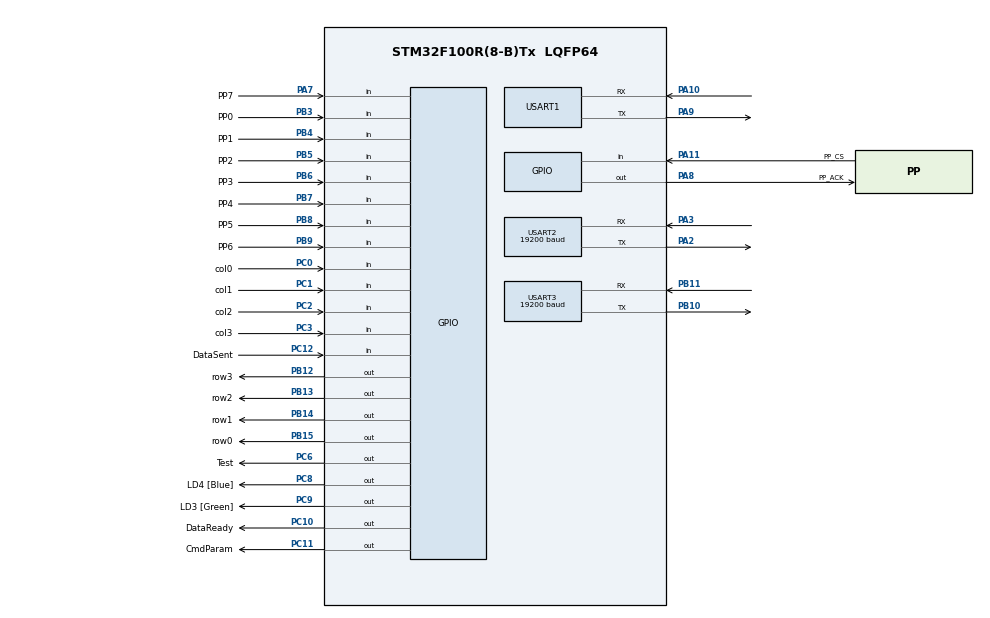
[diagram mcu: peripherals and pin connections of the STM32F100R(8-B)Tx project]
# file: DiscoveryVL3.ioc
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FREERTOS.HEAP_NUMBER=3
FREERTOS.Queues01=keypressed,16,uint16_t,0,Dynamic,NULL,NULL;Send7200,16,uint16_t,0,Dynamic,NULL,NULL;SendAVR,16,uint16_t,0,Dynamic,NULL,NULL;SendFPGA,16,uint16_t,0,Dynamic,NULL,NULL
FREERTOS.Tasks01=defaultTask,0,128,StartDefaultTask,Default,NULL,Dynamic,NULL,NULL;myTask04,-3,128,StartAVRTask,Default,NULL,Dynamic,NULL,NULL;myTask05,-3,128,StartTask7200,Default,NULL,Dynamic,NULL,NULL;myTask06,-3,128,StartRecv7200,Default,NULL,Dynamic,NULL,NULL;myTask08,-3,128,StartSendFPGA,Default,NULL,Dynamic,NULL,NULL;myTask09,-3,128,StartRecvFPGA,Default,NULL,Dynamic,NULL,NULL;myTask10,-3,128,StartKeyStateTask,Default,NULL,Dynamic,NULL,NULL
FREERTOS.Timers01=myTimer01,Callback01,osTimerPeriodic,Default,NULL,Dynamic,NULL
FREERTOS.configTOTAL_HEAP_SIZE=8000
FREERTOS.configUSE_TIMERS=1
Mcu.Family=STM32F1
Mcu.Name=STM32F100R(8-B)Tx
Mcu.Package=LQFP64
NVIC.PriorityGroup=NVIC_PRIORITYGROUP_4
NVIC.TIM1_UP_TIM16_IRQn=true\:0\:0\:false\:false\:true\:false\:false
NVIC.TimeBase=TIM1_UP_TIM16_IRQn
NVIC.TimeBaseIP=TIM1
NVIC.USART1_IRQn=true\:5\:0\:false\:false\:true\:true\:true
PA0-WKUP.Mode=SYS_WakeUp0
PA0-WKUP.Signal=SYS_WKUP
PA10.Mode=Asynchronous
PA10.Signal=USART1_RX
PA11.GPIO_Label=PP_CS
PA11.GPIO_PuPd=GPIO_PULLUP
PA11.Signal=GPIO_Input
PA13.GPIO_Label=TMS_SWDIO
PA13.Mode=Serial_Wire
PA13.Signal=SYS_JTMS-SWDIO
PA14.GPIO_Label=TCK_SWCLK
PA14.Mode=Serial_Wire
PA14.Signal=SYS_JTCK-SWCLK
PA2.Mode=Asynchronous
PA2.Signal=USART2_TX
PA3.Mode=Asynchronous
PA3.Signal=USART2_RX
PA7.GPIO_Label=PP7
PA7.GPIO_PuPd=GPIO_PULLUP
PA7.Signal=GPIO_Input
PA8.GPIO_Label=PP_ACK
PA8.GPIO_PuPd=GPIO_PULLUP
PA8.Signal=GPIO_Output
PA9.Mode=Asynchronous
PA9.Signal=USART1_TX
PB10.Mode=Asynchronous
PB10.Signal=USART3_TX
PB11.Mode=Asynchronous
PB11.Signal=USART3_RX
PB12.GPIO_Label=row3
PB12.GPIO_PuPd=GPIO_PULLUP
PB12.Signal=GPIO_Output
PB13.GPIO_Label=row2
PB13.GPIO_PuPd=GPIO_PULLUP
PB13.Signal=GPIO_Output
PB14.GPIO_Label=row1
PB14.GPIO_PuPd=GPIO_PULLUP
PB14.Signal=GPIO_Output
PB15.GPIO_Label=row0
PB15.GPIO_PuPd=GPIO_PULLUP
PB15.Signal=GPIO_Output
PB3.GPIO_Label=PP0
PB3.GPIO_PuPd=GPIO_PULLUP
PB3.Signal=GPIO_Input
PB4.GPIO_Label=PP1
PB4.GPIO_PuPd=GPIO_PULLUP
PB4.Signal=GPIO_Input
PB5.GPIO_Label=PP2
PB5.GPIO_PuPd=GPIO_PULLUP
PB5.Signal=GPIO_Input
PB6.GPIO_Label=PP3
PB6.GPIO_PuPd=GPIO_PULLUP
PB6.Signal=GPIO_Input
PB7.GPIO_Label=PP4
PB7.GPIO_PuPd=GPIO_PULLUP
PB7.Signal=GPIO_Input
PB8.GPIO_Label=PP5
PB8.GPIO_PuPd=GPIO_PULLUP
PB8.Signal=GPIO_Input
PB9.GPIO_Label=PP6
PB9.GPIO_PuPd=GPIO_PULLUP
PB9.Signal=GPIO_Input
PC0.GPIO_Label=col0
PC0.GPIO_PuPd=GPIO_PULLUP
PC0.Signal=GPIO_Input
PC1.GPIO_Label=col1
PC1.GPIO_PuPd=GPIO_PULLUP
PC1.Signal=GPIO_Input
PC10.GPIO_Label=DataReady
PC10.GPIO_PuPd=GPIO_PULLUP
PC10.Signal=GPIO_Output
PC11.GPIO_Label=CmdParam
PC11.GPIO_PuPd=GPIO_PULLUP
PC11.Signal=GPIO_Output
PC12.GPIO_Label=DataSent
PC12.GPIO_PuPd=GPIO_PULLUP
PC12.Signal=GPIO_Input
PC14-OSC32_IN.Mode=LSE-External-Oscillator
PC14-OSC32_IN.Signal=RCC_OSC32_IN
PC15-OSC32_OUT.Mode=LSE-External-Oscillator
PC15-OSC32_OUT.Signal=RCC_OSC32_OUT
PC2.GPIO_Label=col2
PC2.GPIO_PuPd=GPIO_PULLUP
PC2.Signal=GPIO_Input
PC3.GPIO_Label=col3
PC3.GPIO_PuPd=GPIO_PULLUP
PC3.Signal=GPIO_Input
PC6.GPIO_Label=Test
PC6.GPIO_PuPd=GPIO_PULLUP
PC6.Signal=GPIO_Output
PC8.GPIO_Label=LD4 [Blue]
PC8.Signal=GPIO_Output
PC9.GPIO_Label=LD3 [Green]
PC9.Signal=GPIO_Output
PD0-OSC_IN.Mode=HSE-External-Oscillator
PD0-OSC_IN.Signal=RCC_OSC_IN
PD1-OSC_OUT.Mode=HSE-External-Oscillator
PD1-OSC_OUT.Signal=RCC_OSC_OUT
ProjectManager.HeapSize=0x200
ProjectManager.StackSize=0x400
ProjectManager.TargetToolchain=TrueSTUDIO
RCC.APB1Freq_Value=8000000
RCC.APB2Freq_Value=8000000
USART1.VirtualMode=VM_ASYNC
USART2.BaudRate=19200
USART2.VirtualMode=VM_ASYNC
USART3.BaudRate=19200
USART3.VirtualMode=VM_ASYNC
VP_FREERTOS_VS_ENABLE.Mode=Enabled
VP_SYS_VS_tim1.Mode=TIM1
board=STM32VLDISCOVERY

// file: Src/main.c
/* USER CODE BEGIN Header */
/**
  ******************************************************************************
  * @file           : main.c
  * @brief          : Main program body
  ******************************************************************************
  * This notice applies to any and all portions of this file
  * that are not between comment pairs USER CODE BEGIN and
  * USER CODE END. Other portions of this file, whether
  * inserted by the user or by software development tools
  * are owned by their respective copyright owners.
  *
  * Copyright (c) 2019 STMicroelectronics International N.V.
  * All rights reserved.
  *
  * Redistribution and use in source and binary forms, with or without
  * modification, are permitted, provided that the following conditions are met:
  *
  * 1. Redistribution of source code must retain the above copyright notice,
  *    this list of conditions and the following disclaimer.
  * 2. Redistributions in binary form must reproduce the above copyright notice,
  *    this list of conditions and the following disclaimer in the documentation
  *    and/or other materials provided with the distribution.
  * 3. Neither the name of STMicroelectronics nor the names of other
  *    contributors to this software may be used to endorse or promote products
  *    derived from this software without specific written permission.
  * 4. This software, including modifications and/or derivative works of this
  *    software, must execute solely and exclusively on microcontroller or
  *    microprocessor devices manufactured by or for STMicroelectronics.
  * 5. Redistribution and use of this software other than as permitted under
  *    this license is void and will automatically terminate your rights under
  *    this license.
  *
  * THIS SOFTWARE IS PROVIDED BY STMICROELECTRONICS AND CONTRIBUTORS "AS IS"
  * AND ANY EXPRESS, IMPLIED OR STATUTORY WARRANTIES, INCLUDING, BUT NOT
  * LIMITED TO, THE IMPLIED WARRANTIES OF MERCHANTABILITY, FITNESS FOR A
  * PARTICULAR PURPOSE AND NON-INFRINGEMENT OF THIRD PARTY INTELLECTUAL PROPERTY
  * RIGHTS ARE DISCLAIMED TO THE FULLEST EXTENT PERMITTED BY LAW. IN NO EVENT
  * SHALL STMICROELECTRONICS OR CONTRIBUTORS BE LIABLE FOR ANY DIRECT, INDIRECT,
  * INCIDENTAL, SPECIAL, EXEMPLARY, OR CONSEQUENTIAL DAMAGES (INCLUDING, BUT NOT
  * LIMITED TO, PROCUREMENT OF SUBSTITUTE GOODS OR SERVICES; LOSS OF USE, DATA,
  * OR PROFITS; OR BUSINESS INTERRUPTION) HOWEVER CAUSED AND ON ANY THEORY OF
  * LIABILITY, WHETHER IN CONTRACT, STRICT LIABILITY, OR TORT (INCLUDING
  * NEGLIGENCE OR OTHERWISE) ARISING IN ANY WAY OUT OF THE USE OF THIS SOFTWARE,
  * EVEN IF ADVISED OF THE POSSIBILITY OF SUCH DAMAGE.
  *
  ******************************************************************************
  */
/* USER CODE END Header */

#include "main.h"
#include "cmsis_os.h"
#include "usart.h"
#include "gpio.h"

void SystemClock_Config(void);
void MX_FREERTOS_Init(void);

int main(void)
{

  /* MCU Configuration--------------------------------------------------------*/

  /* Reset of all peripherals, Initializes the Flash interface and the Systick. */
  HAL_Init();

  /* Configure the system clock */
  SystemClock_Config();

  /* Initialize all configured peripherals */
  MX_GPIO_Init();
  MX_USART1_UART_Init();
  MX_USART2_UART_Init();
  MX_USART3_UART_Init();

  /* Call init function for freertos objects (in freertos.c) */
  MX_FREERTOS_Init();

  /* Start scheduler */
  osKernelStart();

  /* We should never get here as control is now taken by the scheduler */

  /* Infinite loop */
  while (1)
  {

  }
}

void SystemClock_Config(void)
{
  RCC_OscInitTypeDef RCC_OscInitStruct = {0};
  RCC_ClkInitTypeDef RCC_ClkInitStruct = {0};

  /**Initializes the CPU, AHB and APB busses clocks
  */
  RCC_OscInitStruct.OscillatorType = RCC_OSCILLATORTYPE_HSI;
  RCC_OscInitStruct.HSIState = RCC_HSI_ON;
  RCC_OscInitStruct.HSICalibrationValue = RCC_HSICALIBRATION_DEFAULT;
  RCC_OscInitStruct.PLL.PLLState = RCC_PLL_NONE;
  if (HAL_RCC_OscConfig(&RCC_OscInitStruct) != HAL_OK)
  {
    Error_Handler();
  }
  /**Initializes the CPU, AHB and APB busses clocks
  */
  RCC_ClkInitStruct.ClockType = RCC_CLOCKTYPE_HCLK|RCC_CLOCKTYPE_SYSCLK
                              |RCC_CLOCKTYPE_PCLK1|RCC_CLOCKTYPE_PCLK2;
  RCC_ClkInitStruct.SYSCLKSource = RCC_SYSCLKSOURCE_HSI;
  RCC_ClkInitStruct.AHBCLKDivider = RCC_SYSCLK_DIV1;
  RCC_ClkInitStruct.APB1CLKDivider = RCC_HCLK_DIV1;
  RCC_ClkInitStruct.APB2CLKDivider = RCC_HCLK_DIV1;

  if (HAL_RCC_ClockConfig(&RCC_ClkInitStruct, FLASH_LATENCY_0) != HAL_OK)
  {
    Error_Handler();
  }
}

void HAL_TIM_PeriodElapsedCallback(TIM_HandleTypeDef *htim)
{
  if (htim->Instance == TIM1) {
    HAL_IncTick();
  }
}

void Error_Handler(void)
{
}

/************************ (C) COPYRIGHT STMicroelectronics *****END OF FILE****/

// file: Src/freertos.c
/* USER CODE BEGIN Header */
/**
  ******************************************************************************
  * File Name          : freertos.c
  * Description        : Code for freertos applications
  ******************************************************************************
  * This notice applies to any and all portions of this file
  * that are not between comment pairs USER CODE BEGIN and
  * USER CODE END. Other portions of this file, whether
  * inserted by the user or by software development tools
  * are owned by their respective copyright owners.
  *
  * Copyright (c) 2019 STMicroelectronics International N.V.
  * All rights reserved.
  *
  * Redistribution and use in source and binary forms, with or without
  * modification, are permitted, provided that the following conditions are met:
  *
  * 1. Redistribution of source code must retain the above copyright notice,
  *    this list of conditions and the following disclaimer.
  * 2. Redistributions in binary form must reproduce the above copyright notice,
  *    this list of conditions and the following disclaimer in the documentation
  *    and/or other materials provided with the distribution.
  * 3. Neither the name of STMicroelectronics nor the names of other
  *    contributors to this software may be used to endorse or promote products
  *    derived from this software without specific written permission.
  * 4. This software, including modifications and/or derivative works of this
  *    software, must execute solely and exclusively on microcontroller or
  *    microprocessor devices manufactured by or for STMicroelectronics.
  * 5. Redistribution and use of this software other than as permitted under
  *    this license is void and will automatically terminate your rights under
  *    this license.
  *
  * THIS SOFTWARE IS PROVIDED BY STMICROELECTRONICS AND CONTRIBUTORS "AS IS"
  * AND ANY EXPRESS, IMPLIED OR STATUTORY WARRANTIES, INCLUDING, BUT NOT
  * LIMITED TO, THE IMPLIED WARRANTIES OF MERCHANTABILITY, FITNESS FOR A
  * PARTICULAR PURPOSE AND NON-INFRINGEMENT OF THIRD PARTY INTELLECTUAL PROPERTY
  * RIGHTS ARE DISCLAIMED TO THE FULLEST EXTENT PERMITTED BY LAW. IN NO EVENT
  * SHALL STMICROELECTRONICS OR CONTRIBUTORS BE LIABLE FOR ANY DIRECT, INDIRECT,
  * INCIDENTAL, SPECIAL, EXEMPLARY, OR CONSEQUENTIAL DAMAGES (INCLUDING, BUT NOT
  * LIMITED TO, PROCUREMENT OF SUBSTITUTE GOODS OR SERVICES; LOSS OF USE, DATA,
  * OR PROFITS; OR BUSINESS INTERRUPTION) HOWEVER CAUSED AND ON ANY THEORY OF
  * LIABILITY, WHETHER IN CONTRACT, STRICT LIABILITY, OR TORT (INCLUDING
  * NEGLIGENCE OR OTHERWISE) ARISING IN ANY WAY OUT OF THE USE OF THIS SOFTWARE,
  * EVEN IF ADVISED OF THE POSSIBILITY OF SUCH DAMAGE.
  *
  ******************************************************************************
  */
/* USER CODE END Header */
#if 1
#include "FreeRTOS.h"
#include "task.h"
#include "main.h"
#include "cmsis_os.h"

/* USER CODE BEGIN Includes */
#include "dwt_stm32_delay.h"
#include "../mytypes.h"
#include "ds1620.h"
#include "freertos_defs.h"
#include "usart.h"
#include "screen.h"
#include "string.h"
#include "gpio.h"

/* USER CODE END Includes */

/* USER CODE BEGIN PTD */
#define SEND_FPGA_DELAY() vTaskDelay(20)

typedef enum
{
	STATE_WAIT_FOR_PRESS = 1,
	STATE_WAIT_FOR_RELEASE
} ISRSTATE;

static ISRSTATE e_isrState;

const uint8_t au8_keyTable[NUM_ROWS][NUM_COLS] =
{
/*
	{KP_1, KP_2, KP_3, KP_A },
	{KP_4, KP_5, KP_6, KP_B },
	{KP_7, KP_8, KP_9, KP_C },
	{KP_AST, KP_0, KP_POUND, KP_D}
*/
	{KP_AST, KP_0, KP_POUND, KP_D},
	{KP_7, KP_8, KP_9, KP_C },
	{KP_4, KP_5, KP_6, KP_B },
	{KP_1, KP_2, KP_3, KP_A }
};

FORMAT_STR rtlabel_str[NUM_RT_LABELS];
FORMAT_STR status_label_str[NUM_STATUS_LABELS];
uint64_t pack64(UCHAR *buff);
uint32_t pack32(UCHAR *buff);

/* USER CODE END PTD */

/* USER CODE BEGIN PD */
uint64_t pack64(UCHAR *buff);
uint32_t pack32(UCHAR *buff);

/* USER CODE END PD */

/* USER CODE BEGIN Variables */
static UCHAR buff[SERIAL_BUFF_SIZE+1];
static int menu_ptr;
static int lights_on;
static int brights_on;
static int blower_on;
static int fan_on;
static int engine_on;
static int running_lights_on;
static int wipers_on;
static int system_up;
static int run_time;

static KEY_MODE key_mode;
//static int key_enter_time;
static char password[PASSWORD_SIZE];
static char correct_password[PASSWORD_SIZE];
static UCHAR password_valid;
static int password_ptr;
static int password_retries;
static int dim_screen;
static int silent_key;
static char num_entry_num[SIZE_NUM];
//static int task7on;

static void clr_scr(void)
{
	UCHAR key[2];
	key[0] = LCD_CLRSCR;
	key[1] = 0xFE;
	HAL_UART_Transmit(&huart2, key, 2, 100);
}

static void goto_scr(UCHAR row, UCHAR col)
{
	UCHAR key[4];
	key[0] = GOTO_CMD;
	key[1] = row;
	key[2] = col;
	key[3] = 0xFE;
	HAL_UART_Transmit(&huart2, key, 4, 100);
}

static void setOneRowLow(uint8_t u8_x)
{
	switch (u8_x)
	{
		case 0:

			HAL_GPIO_WritePin(GPIOB, row0, GPIO_PIN_SET);
			HAL_GPIO_WritePin(GPIOB, row1, GPIO_PIN_SET);
			HAL_GPIO_WritePin(GPIOB, row2, GPIO_PIN_SET);
			HAL_GPIO_WritePin(GPIOB, row3, GPIO_PIN_RESET);
			break;
		case 1:
			HAL_GPIO_WritePin(GPIOB, row0, GPIO_PIN_SET);
			HAL_GPIO_WritePin(GPIOB, row1, GPIO_PIN_SET);
			HAL_GPIO_WritePin(GPIOB, row2, GPIO_PIN_RESET);
			HAL_GPIO_WritePin(GPIOB, row3, GPIO_PIN_SET);
			break;
		case 2:
			HAL_GPIO_WritePin(GPIOB, row0, GPIO_PIN_SET);
			HAL_GPIO_WritePin(GPIOB, row1, GPIO_PIN_RESET);
			HAL_GPIO_WritePin(GPIOB, row2, GPIO_PIN_SET);
			HAL_GPIO_WritePin(GPIOB, row3, GPIO_PIN_SET);
			break;
		case 3:
			HAL_GPIO_WritePin(GPIOB, row0, GPIO_PIN_RESET);
			HAL_GPIO_WritePin(GPIOB, row1, GPIO_PIN_SET);
			HAL_GPIO_WritePin(GPIOB, row2, GPIO_PIN_SET);
			HAL_GPIO_WritePin(GPIOB, row3, GPIO_PIN_SET);
			break;
		default:
			HAL_GPIO_WritePin(GPIOB, row0, GPIO_PIN_SET);
			HAL_GPIO_WritePin(GPIOB, row1, GPIO_PIN_SET);
			HAL_GPIO_WritePin(GPIOB, row2, GPIO_PIN_SET);
			HAL_GPIO_WritePin(GPIOB, row3, GPIO_PIN_SET);
			break;
	}
}

static void drive_row_high(void)
{
	HAL_GPIO_WritePin(GPIOB, row0, GPIO_PIN_SET);
	HAL_GPIO_WritePin(GPIOB, row1, GPIO_PIN_SET);
	HAL_GPIO_WritePin(GPIOB, row2, GPIO_PIN_SET);
	HAL_GPIO_WritePin(GPIOB, row3, GPIO_PIN_SET);
}

/*
int key_is_pressed(void)
{
	GPIO_PinState state0, state1, state2, state3;

	state0 = HAL_GPIO_ReadPin(GPIOC,col0);
	state1 = HAL_GPIO_ReadPin(GPIOC,col1);
	state2 = HAL_GPIO_ReadPin(GPIOC,col2);
	state3 = HAL_GPIO_ReadPin(GPIOC,col3);
	if (state0 == GPIO_PIN_RESET || state1 == GPIO_PIN_RESET ||
					state2 == GPIO_PIN_RESET || state3 == GPIO_PIN_RESET)
		return 1;

	return 0;
}
*/

int key_is_released(void)
{
	GPIO_PinState state0, state1, state2, state3;

	state0 = HAL_GPIO_ReadPin(GPIOC,col0);
	state1 = HAL_GPIO_ReadPin(GPIOC,col1);
	state2 = HAL_GPIO_ReadPin(GPIOC,col2);
	state3 = HAL_GPIO_ReadPin(GPIOC,col3);
	if (state0 == GPIO_PIN_SET && state1 == GPIO_PIN_SET &&
					state2 == GPIO_PIN_SET && state3 == GPIO_PIN_SET)
		return 1;

	return 0;
}

UCHAR do_keyscan(void)
{
	uint8_t u8_row;
	UCHAR key_pressed;
	GPIO_PinState state;

	key_pressed = 0;
//	drive_row_high();

	for (u8_row = 0; u8_row < NUM_ROWS; u8_row++)
	{
		setOneRowLow(u8_row);
//			vTaskDelay(1);
		state = HAL_GPIO_ReadPin(GPIOC,col0);
		if(state == GPIO_PIN_RESET)
		{
			key_pressed = (au8_keyTable[u8_row][0]);
			return key_pressed;
		}
		state = HAL_GPIO_ReadPin(GPIOC,col1);
		if(state == GPIO_PIN_RESET)
		{
			key_pressed = (au8_keyTable[u8_row][1]);
			return key_pressed;
		}
		state = HAL_GPIO_ReadPin(GPIOC,col2);
		if(state == GPIO_PIN_RESET)
		{
			key_pressed = (au8_keyTable[u8_row][2]);
			return key_pressed;
		}
		state = HAL_GPIO_ReadPin(GPIOC,col3);
		if(state == GPIO_PIN_RESET)
		{
			key_pressed = (au8_keyTable[u8_row][3]);
			return key_pressed;
		}
	}
	return 0;
}

/* USER CODE END Variables */
osThreadId defaultTaskHandle;
osThreadId myTask04Handle;
osThreadId myTask05Handle;
osThreadId myTask06Handle;
osThreadId myTask08Handle;
osThreadId myTask09Handle;
osThreadId myTask10Handle;
osMessageQId keypressedHandle;
osMessageQId Send7200Handle;
osMessageQId SendAVRHandle;
osMessageQId SendFPGAHandle;
osTimerId myTimer01Handle;

void StartDefaultTask(void const * argument);
void StartAVRTask(void const * argument);
void StartTask7200(void const * argument);
void StartRecv7200(void const * argument);
void StartSendFPGA(void const * argument);
void StartRecvFPGA(void const * argument);
void StartKeyStateTask(void const * argument);
void Callback01(void const * argument);
#endif
void MX_FREERTOS_Init(void); /* (MISRA C 2004 rule 8.1) */

void MX_FREERTOS_Init(void)
{

  /* Create the timer(s) */
  /* definition and creation of myTimer01 */
  osTimerDef(myTimer01, Callback01);
  myTimer01Handle = osTimerCreate(osTimer(myTimer01), osTimerPeriodic, NULL);

  /* Create the thread(s) */
  /* definition and creation of defaultTask */
  osThreadDef(defaultTask, StartDefaultTask, osPriorityNormal, 0, 128);
  defaultTaskHandle = osThreadCreate(osThread(defaultTask), NULL);
#if 0
  /* definition and creation of myTask04 */
  osThreadDef(myTask04, StartAVRTask, osPriorityIdle, 0, 128);
  myTask04Handle = osThreadCreate(osThread(myTask04), NULL);

  /* definition and creation of myTask05 */
  osThreadDef(myTask05, StartTask7200, osPriorityIdle, 0, 128);
  myTask05Handle = osThreadCreate(osThread(myTask05), NULL);

  /* definition and creation of myTask06 */
  osThreadDef(myTask06, StartRecv7200, osPriorityIdle, 0, 128);
  myTask06Handle = osThreadCreate(osThread(myTask06), NULL);

  /* definition and creation of myTask08 */
  osThreadDef(myTask08, StartSendFPGA, osPriorityIdle, 0, 128);
  myTask08Handle = osThreadCreate(osThread(myTask08), NULL);

  /* definition and creation of myTask09 */
  osThreadDef(myTask09, StartRecvFPGA, osPriorityIdle, 0, 128);
  myTask09Handle = osThreadCreate(osThread(myTask09), NULL);

  /* definition and creation of myTask10 */
  osThreadDef(myTask10, StartKeyStateTask, osPriorityIdle, 0, 128);
  myTask10Handle = osThreadCreate(osThread(myTask10), NULL);
#endif

  /* Create the queue(s) */
  /* definition and creation of keypressed */
  osMessageQDef(keypressed, 16, uint16_t);
  keypressedHandle = osMessageCreate(osMessageQ(keypressed), NULL);

  /* definition and creation of Send7200 */
  osMessageQDef(Send7200, 16, uint16_t);
  Send7200Handle = osMessageCreate(osMessageQ(Send7200), NULL);

  /* definition and creation of SendAVR */
  osMessageQDef(SendAVR, 16, uint16_t);
  SendAVRHandle = osMessageCreate(osMessageQ(SendAVR), NULL);

  /* definition and creation of SendFPGA */
  osMessageQDef(SendFPGA, 16, uint16_t);
  SendFPGAHandle = osMessageCreate(osMessageQ(SendFPGA), NULL);

}

void StartDefaultTask(void const * argument)
{

  /* USER CODE BEGIN StartDefaultTask */
  	int i;
	uint64_t avr_buffer[5];
	UCHAR ucbuff[8];
	UCHAR key;
	UCHAR cmd;
	uint16_t recval;

	lights_on = 0;
	brights_on = 0;
	fan_on = 0;
	blower_on = 0;
	engine_on = 0;
	wipers_on = 0;
  	menu_ptr = 0;
    password_valid = 0;
    password_ptr = 0;
	password_retries = 0;
	dim_screen = 0;
	silent_key = 0;
	system_up = 1;
	run_time = 0;
//	key_mode = PASSWORD;
	key_mode = NORMAL;
	DWT_Delay_Init();
	init_DS1620();
//	set_output();		// set the DS1620 lines to outputs (for testing)

	memset(correct_password,0,sizeof(correct_password));
	strcpy(correct_password,"2354795\0");
	memset(password,0,PASSWORD_SIZE);
	osTimerStart(myTimer01Handle,10000);

	for(;;)
	{
		vTaskDelay(1000);
	}

	menu_ptr = 0;
/*
  	for(i = 0;i < 20;i++)
	{
  		if(menu_ptr == 0)
		{
			HAL_GPIO_WritePin(LD3_GPIO_Port, LD3_Pin, GPIO_PIN_RESET);
			HAL_GPIO_WritePin(LD4_GPIO_Port, LD4_Pin, GPIO_PIN_SET);
			vTaskDelay(50);
			menu_ptr = 1;
		}else
		{
			HAL_GPIO_WritePin(LD4_GPIO_Port, LD4_Pin, GPIO_PIN_RESET);
			HAL_GPIO_WritePin(LD3_GPIO_Port, LD3_Pin, GPIO_PIN_SET);
			vTaskDelay(50);
			menu_ptr = 0;
		}
	}
*/
	HAL_GPIO_WritePin(LD3_GPIO_Port, LD3_Pin, GPIO_PIN_RESET);
	HAL_GPIO_WritePin(LD3_GPIO_Port, LD4_Pin, GPIO_PIN_RESET);

	vTaskDelay(2000);

	clr_scr();
	vTaskDelay(1000);

	init_rtlabels();
//	display_rtlabels();

	vTaskDelay(10);

	ucbuff[0] = DISPLAY_RTLABELS;
	ucbuff[1] = START_RT_VALUE_ROW;
	ucbuff[2] = START_RT_VALUE_COL;
	ucbuff[3] = ENDING_RT_VALUE_ROW;
	ucbuff[4] = RT_VALUE_COL_WIDTH;
	ucbuff[5] = NUM_RT_LABELS;

	avr_buffer[0] = pack64(ucbuff);
//	xQueueSend(SendAVRHandle,avr_buffer,0);

	HAL_GPIO_WritePin(LD3_GPIO_Port, LD3_Pin, GPIO_PIN_RESET);
	HAL_GPIO_WritePin(LD3_GPIO_Port, LD4_Pin, GPIO_PIN_RESET);
  /* Infinite loop */

  for(;;)
  {
		xQueueReceive(keypressedHandle, &recval, portMAX_DELAY);
		key = (UCHAR)recval;
		cmd = 0;

		switch(key)
		{
			case KP_1:
				cmd = START_SEQ;
				if(engine_on == 0)
				{
					ucbuff[0] = cmd;
					buff[0] = pack64(ucbuff);
					xQueueSend(Send7200Handle, buff, 0);
					engine_on = 1;
				}
			break;
			case KP_2:
				cmd = SHUTDOWN;
				ucbuff[0] = cmd;
				buff[0] = pack64(ucbuff);
				xQueueSend(Send7200Handle, buff, 0);
				cmd = OFF_FAN;
				ucbuff[0] = cmd;
				buff[0] = pack64(ucbuff);
				xQueueSend(Send7200Handle, buff, 0);
				engine_on = 0;
				fan_on = 0;

			break;
			case KP_3:
				if(lights_on == 1)
				{
					if(brights_on == 0)
					{
						cmd = ON_BRIGHTS;
						ucbuff[0] = cmd;
						buff[0] = pack64(ucbuff);
						xQueueSend(Send7200Handle, buff, 0);
						brights_on = 1;
					}
					else
					{
						cmd = OFF_BRIGHTS;
						ucbuff[0] = cmd;
						buff[0] = pack64(ucbuff);
						xQueueSend(Send7200Handle, buff, 0);
						brights_on = 0;
					}
				}
			break;
			case KP_4:
				if(fan_on == 0)
				{
					cmd = ON_FAN;
					ucbuff[0] = cmd;
					buff[0] = pack64(ucbuff);
					xQueueSend(Send7200Handle, buff, 0);
					fan_on = 1;
				}
				else
				{
					cmd = OFF_FAN;
					ucbuff[0] = cmd;
					buff[0] = pack64(ucbuff);
					xQueueSend(Send7200Handle, buff, 0);
					fan_on = 0;
				}
			break;
			case KP_5:
				switch(blower_on)
				{
					case 0:
						cmd = BLOWER1;
						ucbuff[0] = cmd;
						buff[0] = pack64(ucbuff);
						xQueueSend(Send7200Handle, buff, 0);
						blower_on = 1;
						break;
					case 1:
						cmd = BLOWER2;
						ucbuff[0] = cmd;
						buff[0] = pack64(ucbuff);
						xQueueSend(Send7200Handle, buff, 0);
						blower_on = 2;
						break;
					case 2:
						cmd = BLOWER3;
						ucbuff[0] = cmd;
						buff[0] = pack64(ucbuff);
						xQueueSend(Send7200Handle, buff, 0);
						blower_on = 3;
						break;
					case 3:
						cmd = BLOWER_OFF;
						ucbuff[0] = cmd;
						buff[0] = pack64(ucbuff);
						xQueueSend(Send7200Handle, buff, 0);
						blower_on = 0;
						break;
					default:
						blower_on = 0;
						break;
				}
			break;
			case KP_6:
				if(running_lights_on == 0)
				{
					running_lights_on = 1;
					cmd = ON_RUNNING_LIGHTS;
					ucbuff[0] = cmd;
					buff[0] = pack64(ucbuff);
					xQueueSend(Send7200Handle, buff, 0);
				}else
				{
					running_lights_on = 0;
					cmd = OFF_RUNNING_LIGHTS;
					ucbuff[0] = cmd;
					buff[0] = pack64(ucbuff);
					xQueueSend(Send7200Handle, buff, 0);
				}
			break;
			case KP_7:
				if(lights_on == 0)
				{
					cmd = ON_LIGHTS;
					ucbuff[0] = cmd;
					buff[0] = pack64(ucbuff);
					xQueueSend(Send7200Handle, buff, 0);
					lights_on = 1;
				}
				else
				{
					cmd = OFF_LIGHTS;
					lights_on = 0;
					ucbuff[0] = cmd;
					buff[0] = pack64(ucbuff);
					xQueueSend(Send7200Handle, buff, 0);

					if(brights_on == 1)
					{
						cmd = OFF_BRIGHTS;
						ucbuff[0] = cmd;
						buff[0] = pack64(ucbuff);
						xQueueSend(Send7200Handle, buff, 0);
						brights_on = 0;
					}
				}
			break;
			case KP_8:
				switch (wipers_on)
				{
					case 0:
						cmd = WIPER1;
						wipers_on = 1;
						break;
					case 1:
						cmd = WIPER2;
						wipers_on = 2;
						break;
					case 2:
						cmd = WIPER_OFF;
						wipers_on = 0;
						break;
					default:
						wipers_on = 0;
						break;
				}
				ucbuff[0] = cmd;
				buff[0] = pack64(ucbuff);
				xQueueSend(Send7200Handle, buff, 0);
			break;
			case KP_9:
			break;
		}
		vTaskDelay(10);
	}
  /* USER CODE END StartDefaultTask */
}

void StartAVRTask(void const * argument)
{
  /* USER CODE BEGIN StartAVRTask */
	uint64_t avr_buffer[5];
	UCHAR ucbuff[8];
	UCHAR end_byte;
//	uint64_t temp;

  /* Infinite loop */
	for(;;)
	{
		xQueueReceive(SendAVRHandle, avr_buffer, portMAX_DELAY);

		ucbuff[0] = (UCHAR)avr_buffer[0];
		avr_buffer[0] >>= 8;

		ucbuff[1] = (UCHAR)avr_buffer[0];
		avr_buffer[0] >>= 8;

		ucbuff[2] = (UCHAR)avr_buffer[0];
		avr_buffer[0] >>= 8;

		ucbuff[3] = (UCHAR)avr_buffer[0];
		avr_buffer[0] >>= 8;

		ucbuff[4] = (UCHAR)avr_buffer[0];
		avr_buffer[0] >>= 8;

		ucbuff[5] = (UCHAR)avr_buffer[0];
		avr_buffer[0] >>= 8;

		ucbuff[6] = (UCHAR)avr_buffer[0];
		avr_buffer[0] >>= 8;

		ucbuff[7] = (UCHAR)avr_buffer[0];
		avr_buffer[0] >>= 8;

		switch (ucbuff[0])
		{
			case EEPROM_STR:
			case EEPROM_STR2:
			case DISPLAY_TEMP:
			case SEND_INT_RT_VALUES:
			case DISPLAY_ELAPSED_TIME:
			case SET_MODE_CMD:
				HAL_UART_Transmit(&huart2, ucbuff, 5, 100);
				break;
			case CHAR_CMD:
			case SET_NUM_ENTRY_MODE:
			case PASSWORD_MODE:
				HAL_UART_Transmit(&huart2, ucbuff, 2, 100);
				break;
			case GOTO_CMD:
				HAL_UART_Transmit(&huart2, ucbuff, 3, 100);
				break;
			case DISPLAY_RTLABELS:
				HAL_UART_Transmit(&huart2, ucbuff, 6, 100);
				break;
			case SEND_BYTE_HEX_VALUES:
			case SEND_BYTE_RT_VALUES:
				HAL_UART_Transmit(&huart2, ucbuff, 4, 100);
				break;
			case LCD_CLRSCR:
			case DISPLAY_STATUSLABELS:
				HAL_UART_Transmit(&huart2, ucbuff, 1, 100);
				break;
			default:
				break;
		}
		end_byte = 0xFE;
		HAL_UART_Transmit(&huart2, &end_byte, 1, 100);
		end_byte = 0;

		do {
			HAL_UART_Receive(&huart2, &end_byte, 1, portMAX_DELAY);
		} while(end_byte != 0xFD);
	}
  /* USER CODE END StartAVRTask */
}

void StartTask7200(void const * argument)
{
  /* USER CODE BEGIN StartTask7200 */
  	uint64_t avr_buffer[5];
	UCHAR ucbuff[SERIAL_BUFF_SIZE];
	UCHAR marker = 0xFF;

	memset(ucbuff,0,sizeof(ucbuff));

	/* Infinite loop */
	for(;;)
	{
		xQueueReceive(Send7200Handle, avr_buffer, portMAX_DELAY);
/*
		if(menu_ptr == 0)
		{
			HAL_GPIO_WritePin(LD3_GPIO_Port, LD3_Pin, GPIO_PIN_RESET);
			HAL_GPIO_WritePin(LD4_GPIO_Port, LD4_Pin, GPIO_PIN_SET);
			menu_ptr = 1;
		}else
		{
			HAL_GPIO_WritePin(LD4_GPIO_Port, LD4_Pin, GPIO_PIN_RESET);
			HAL_GPIO_WritePin(LD3_GPIO_Port, LD3_Pin, GPIO_PIN_SET);
			menu_ptr = 0;
		}
*/
		ucbuff[0] = (UCHAR)avr_buffer[0];
		avr_buffer[0] >>= 8;

		ucbuff[1] = (UCHAR)avr_buffer[0];
		avr_buffer[0] >>= 8;

		ucbuff[2] = (UCHAR)avr_buffer[0];
		avr_buffer[0] >>= 8;

		ucbuff[3] = (UCHAR)avr_buffer[0];
		avr_buffer[0] >>= 8;

		ucbuff[4] = (UCHAR)avr_buffer[0];
		avr_buffer[0] >>= 8;

		ucbuff[5] = (UCHAR)avr_buffer[0];
		avr_buffer[0] >>= 8;

		ucbuff[6] = (UCHAR)avr_buffer[0];
		avr_buffer[0] >>= 8;

		ucbuff[7] = (UCHAR)avr_buffer[0];
		avr_buffer[0] >>= 8;

		if(system_up == 1)
		//if(1)
		{
			HAL_UART_Transmit(&huart1, &marker, 1, 100);
			HAL_UART_Transmit(&huart1, &ucbuff[0], SERIAL_BUFF_SIZE, 100);
		}
		//		HAL_UART_Transmit_IT(&huart1, &marker, 1);
		//		HAL_UART_Transmit_IT(&huart1, &ucbuff[0], SERIAL_BUFF_SIZE);
		/*
		HAL_UART_Receive(&huart1, &Recv7200buff[0], SERIAL_BUFF_SIZE, 1000);

		ucbuff[0] = SEND_BYTE_RT_VALUES;
		ucbuff[1] = rtlabel_str[RUN_TIME].row;
		ucbuff[2] = rtlabel_str[RUN_TIME].data_col;
		ucbuff[3] = Recv7200buff[0];		// hours
		avr_buffer[0] = pack64(ucbuff);
		xQueueSend(SendAVRHandle,avr_buffer,0);
		vTaskDelay(5);

		ucbuff[1] = rtlabel_str[RUN_TIME].row;
		ucbuff[2] = rtlabel_str[RUN_TIME].data_col + 3;
		ucbuff[3] = Recv7200buff[1];		// minutes
		avr_buffer[0] = pack64(ucbuff);
		xQueueSend(SendAVRHandle,avr_buffer,0);
		vTaskDelay(5);

		ucbuff[1] = rtlabel_str[RUN_TIME].row;
		ucbuff[2] = rtlabel_str[RUN_TIME].data_col + 6;
		ucbuff[3] = Recv7200buff[2];		// seconds
		avr_buffer[0] = pack64(ucbuff);
		xQueueSend(SendAVRHandle,avr_buffer,0);
		vTaskDelay(5);

		vTaskDelay(100);

		if(menu_ptr == 0)
		{
		HAL_GPIO_WritePin(LD3_GPIO_Port, LD3_Pin, GPIO_PIN_RESET);
		HAL_GPIO_WritePin(LD4_GPIO_Port, LD4_Pin, GPIO_PIN_SET);
		menu_ptr = 1;
		}else
		{
		HAL_GPIO_WritePin(LD4_GPIO_Port, LD4_Pin, GPIO_PIN_RESET);
		HAL_GPIO_WritePin(LD3_GPIO_Port, LD3_Pin, GPIO_PIN_SET);
		menu_ptr = 0;
		}
		*/
	}
  /* USER CODE END StartTask7200 */
}

void StartRecv7200(void const * argument)
{
  /* USER CODE BEGIN StartRecv7200 */
	UCHAR cmd;
	int j = 99;
	int k = 0;
	UCHAR buff[SERIAL_BUFF_SIZE];
  	uint64_t avr_buffer[5];
	UCHAR ucbuff[SERIAL_BUFF_SIZE];
	UCHAR marker = 0xFF;

	/* Infinite loop */
	for(;;)
	{
		HAL_UART_Receive_IT(&huart1, &cmd, 1);
		if(cmd >= ENABLE_START && cmd <= SEND_TIME_DATA)
		{
			switch (cmd)
			{
				case 	ON_ACC:				// 3
					break;
				case 	OFF_ACC:			// 4
					break;
				case 	ON_FUEL_PUMP:		// 5
					break;
				case 	OFF_FUEL_PUMP:		// 6
					break;
				case 	ON_FAN:				// 7
					fan_on = 1;
					break;
				case 	OFF_FAN:			// 8
					fan_on = 0;
					break;
				case 	ON_LIGHTS:			// 9
					lights_on = 1;
					break;
				case 	OFF_LIGHTS:			// 10
					lights_on = 0;
					break;
				case 	ON_BRIGHTS:			// 11
					brights_on = 1;
					break;
				case 	OFF_BRIGHTS:		// 12
					brights_on = 0;
					break;
				case 	ON_BRAKES:
					break;
				case 	OFF_BRAKES:
					break;
				case 	ON_RUNNING_LIGHTS:
					running_lights_on = 1;
					break;
				case 	OFF_RUNNING_LIGHTS:
					running_lights_on = 0;
					break;
				case 	SPECIAL_CMD:
					break;
				case 	START_SEQ:
					engine_on = 1;
					break;
				case 	SHUTDOWN:
					engine_on = 0;
					break;
				case 	ON_LLIGHTS:
					break;
				case 	OFF_LLIGHTS:
					break;
				case 	ON_LBRIGHTS:
					break;
				case 	OFF_LBRIGHTS:
					break;
				case 	ON_RLIGHTS:
					break;
				case 	OFF_RLIGHTS:
					break;
				case 	ON_RBRIGHTS:
					break;
				case 	OFF_RBRIGHTS:
					break;
				case 	BLOWER_OFF:
					blower_on = 0;
					break;
				case 	BLOWER1:
					blower_on = 1;
					break;
				case 	BLOWER2:
					blower_on = 2;
					break;
				case 	BLOWER3:
					blower_on = 3;
					break;
				case 	WIPER1:
					wipers_on = 1;
					break;
				case 	WIPER2:
					wipers_on = 2;
					break;
				case 	WIPER_OFF:
					wipers_on = 0;
					break;
				case START_MBOX_XMIT:
					HAL_GPIO_WritePin(LD3_GPIO_Port, LD3_Pin, GPIO_PIN_RESET);
					HAL_GPIO_WritePin(LD4_GPIO_Port, LD4_Pin, GPIO_PIN_SET);
					system_up = 1;
					break;
				case STOP_MBOX_XMIT:
					HAL_GPIO_WritePin(LD3_GPIO_Port, LD3_Pin, GPIO_PIN_SET);
					HAL_GPIO_WritePin(LD4_GPIO_Port, LD4_Pin, GPIO_PIN_RESET);
					system_up = 0;
					break;
				case SEND_TIME_DATA:
#if 0
					HAL_UART_Receive_IT(&huart1, &buff[0], SERIAL_BUFF_SIZE);
					if(buff[0] == 0xAA && buff[1] == 0x55)
					{
						if(menu_ptr == 0)
						{
						HAL_GPIO_WritePin(LD3_GPIO_Port, LD3_Pin, GPIO_PIN_RESET);
						HAL_GPIO_WritePin(LD4_GPIO_Port, LD4_Pin, GPIO_PIN_SET);
						menu_ptr = 1;
						}else
						{
						HAL_GPIO_WritePin(LD4_GPIO_Port, LD4_Pin, GPIO_PIN_RESET);
						HAL_GPIO_WritePin(LD3_GPIO_Port, LD3_Pin, GPIO_PIN_SET);
						menu_ptr = 0;
						}
					}

/*
running_hours,minutes,seconds,
total running_hours,minutes,seconds,
odometer_high,low, trip_high,low
*/

					ucbuff[0] = SEND_BYTE_RT_VALUES;
					ucbuff[1] = rtlabel_str[RUN_TIME].row;
					ucbuff[2] = rtlabel_str[RUN_TIME].data_col;
					ucbuff[3] = buff[1];		// hours
					avr_buffer[0] = pack64(ucbuff);
					xQueueSend(SendAVRHandle,avr_buffer,0);
					vTaskDelay(5);

					ucbuff[1] = rtlabel_str[RUN_TIME].row;
					ucbuff[2] = rtlabel_str[RUN_TIME].data_col + 3;
					ucbuff[3] = buff[2];		// minutes
					avr_buffer[0] = pack64(ucbuff);
					xQueueSend(SendAVRHandle,avr_buffer,0);
					vTaskDelay(5);

					ucbuff[1] = rtlabel_str[RUN_TIME].row;
					ucbuff[2] = rtlabel_str[RUN_TIME].data_col + 6;
					ucbuff[3] = buff[3];		// seconds
					avr_buffer[0] = pack64(ucbuff);
					xQueueSend(SendAVRHandle,avr_buffer,0);
					vTaskDelay(5);

					ucbuff[0] = SEND_INT_RT_VALUES;
					ucbuff[1] = rtlabel_str[ODOM].row;
					ucbuff[2] = rtlabel_str[ODOM].data_col;
					ucbuff[3] = buff[7];
					ucbuff[4] = buff[8];
					avr_buffer[0] = pack64(ucbuff);
					xQueueSend(SendAVRHandle,avr_buffer,0);
					vTaskDelay(10);

					ucbuff[0] = SEND_INT_RT_VALUES;
					ucbuff[1] = rtlabel_str[TRIP].row;
					ucbuff[2] = rtlabel_str[TRIP].data_col;
					ucbuff[3] = buff[9];
					ucbuff[4] = buff[10];
					avr_buffer[0] = pack64(ucbuff);
					xQueueSend(SendAVRHandle,avr_buffer,0);
#endif
					break;

				default:
					break;
			}
		}
		cmd = 0;
		vTaskDelay(50);
	}
  /* USER CODE END StartRecv7200 */
}

void StartSendFPGA(void const * argument)
{
  /* USER CODE BEGIN StartSendFPGA */
	UCHAR cmd, param1, param2, param3, param4, param5, param6, param7;
	uint64_t rec_val[5];

	/* Infinite loop */
	for(;;)
	{
		xQueueReceive(SendFPGAHandle, rec_val, portMAX_DELAY);

		cmd = (UCHAR)rec_val[0];
		rec_val[0] >>= 8;

		param1 = (UCHAR)rec_val[0];
		rec_val[0] >>= 8;

		param2 = (UCHAR)rec_val[0];
		rec_val[0] >>= 8;

		param3 = (UCHAR)rec_val[0];
		rec_val[0] >>= 8;

		param4 = (UCHAR)rec_val[0];
		rec_val[0] >>= 8;

		param5 = (UCHAR)rec_val[0];
		rec_val[0] >>= 8;

		param6 = (UCHAR)rec_val[0];
		rec_val[0] >>= 8;

		param7 = (UCHAR)rec_val[0];

		HAL_GPIO_WritePin(GPIOC, CmdParam_Pin, GPIO_PIN_SET);
		HAL_GPIO_WritePin(GPIOC, DataReady_Pin, GPIO_PIN_SET);
		SEND_FPGA_DELAY();
		HAL_UART_Transmit(&huart3, &cmd, 1, 100);

		SEND_FPGA_DELAY();
		HAL_GPIO_WritePin(GPIOC, CmdParam_Pin, GPIO_PIN_RESET);
		HAL_GPIO_WritePin(GPIOC, DataReady_Pin, GPIO_PIN_RESET);
		SEND_FPGA_DELAY();

		HAL_GPIO_WritePin(GPIOC, DataReady_Pin, GPIO_PIN_SET);
		SEND_FPGA_DELAY();
		HAL_UART_Transmit(&huart3, &param1, 1, 100);
		SEND_FPGA_DELAY();
		HAL_GPIO_WritePin(GPIOC, DataReady_Pin, GPIO_PIN_RESET);
		SEND_FPGA_DELAY();

		HAL_GPIO_WritePin(GPIOC, DataReady_Pin, GPIO_PIN_SET);
		SEND_FPGA_DELAY();
		HAL_UART_Transmit(&huart3, &param2, 1, 100);
		SEND_FPGA_DELAY();
		HAL_GPIO_WritePin(GPIOC, DataReady_Pin, GPIO_PIN_RESET);
		SEND_FPGA_DELAY();

		HAL_GPIO_WritePin(GPIOC, DataReady_Pin, GPIO_PIN_SET);
		SEND_FPGA_DELAY();
		HAL_UART_Transmit(&huart3, &param3, 1, 100);
		SEND_FPGA_DELAY();
		HAL_GPIO_WritePin(GPIOC, DataReady_Pin, GPIO_PIN_RESET);

		HAL_GPIO_WritePin(GPIOC, DataReady_Pin, GPIO_PIN_SET);
		SEND_FPGA_DELAY();
		HAL_UART_Transmit(&huart3, &param4, 1, 100);
		SEND_FPGA_DELAY();
		HAL_GPIO_WritePin(GPIOC, DataReady_Pin, GPIO_PIN_RESET);

		HAL_GPIO_WritePin(GPIOC, DataReady_Pin, GPIO_PIN_SET);
		SEND_FPGA_DELAY();
		HAL_UART_Transmit(&huart3, &param5, 1, 100);
		SEND_FPGA_DELAY();
		HAL_GPIO_WritePin(GPIOC, DataReady_Pin, GPIO_PIN_RESET);

		HAL_GPIO_WritePin(GPIOC, DataReady_Pin, GPIO_PIN_SET);
		SEND_FPGA_DELAY();
		HAL_UART_Transmit(&huart3, &param6, 1, 100);
		SEND_FPGA_DELAY();
		HAL_GPIO_WritePin(GPIOC, DataReady_Pin, GPIO_PIN_RESET);

		HAL_GPIO_WritePin(GPIOC, DataReady_Pin, GPIO_PIN_SET);
		SEND_FPGA_DELAY();
		HAL_UART_Transmit(&huart3, &param7, 1, 100);
		SEND_FPGA_DELAY();
		HAL_GPIO_WritePin(GPIOC, DataReady_Pin, GPIO_PIN_RESET);

		param7 = 0xFF;
		HAL_GPIO_WritePin(GPIOC, DataReady_Pin, GPIO_PIN_SET);
		SEND_FPGA_DELAY();
		HAL_UART_Transmit(&huart3, &param7, 1, 100);
		SEND_FPGA_DELAY();
		HAL_GPIO_WritePin(GPIOC, DataReady_Pin, GPIO_PIN_RESET);
	}

  /* USER CODE END StartSendFPGA */
}

void StartRecvFPGA(void const * argument)
{
  /* USER CODE BEGIN StartRecvFPGA */
	int i = 0;
	/* Infinite loop */
	UCHAR xbyte = 0;
	GPIO_PinState state;
	uint64_t avr_buffer[5];
	UCHAR ucbuff[8];
	UCHAR buff[5];
	int frame_ptr;
	UINT rpm, mph;
	rpm = 500;
	mph = 1;

	xbyte = 0x21;

	vTaskDelay(2000);
	HAL_GPIO_WritePin(GPIOA, PP_ACK_Pin, GPIO_PIN_SET);
	vTaskDelay(10);
	HAL_GPIO_WritePin(GPIOA, PP_ACK_Pin, GPIO_PIN_RESET);
	vTaskDelay(1);

	frame_ptr = 0;

  /* Infinite loop */

	for(;;)
	{
		do {
			state = HAL_GPIO_ReadPin(GPIOA,PP_CS_Pin);
		}while(state != GPIO_PIN_SET);

		state = HAL_GPIO_ReadPin(GPIOB,PP0_Pin);
		if(state == GPIO_PIN_SET)
			xbyte |= 1;
		state = HAL_GPIO_ReadPin(GPIOB,PP1_Pin);
		if(state == GPIO_PIN_SET)
			xbyte |= 0x2;
		state = HAL_GPIO_ReadPin(GPIOB,PP2_Pin);
		if(state == GPIO_PIN_SET)
			xbyte |= 0x4;
		state = HAL_GPIO_ReadPin(GPIOB,PP3_Pin);
		if(state == GPIO_PIN_SET)
			xbyte |= 0x8;
		state = HAL_GPIO_ReadPin(GPIOB,PP4_Pin);
		if(state == GPIO_PIN_SET)
			xbyte |= 0x10;
		state = HAL_GPIO_ReadPin(GPIOB,PP5_Pin);
		if(state == GPIO_PIN_SET)
			xbyte |= 0x20;
		state = HAL_GPIO_ReadPin(GPIOB,PP6_Pin);
		if(state == GPIO_PIN_SET)
			xbyte |= 0x40;
		state = HAL_GPIO_ReadPin(GPIOA,PP7_Pin);
		if(state == GPIO_PIN_SET)
			xbyte |= 0x80;

		do {
			state = HAL_GPIO_ReadPin(GPIOA,PP_CS_Pin);
		}while(state != GPIO_PIN_RESET);

		if(xbyte == 0xFE)
		{
			frame_ptr = 0;

			ucbuff[0] = SEND_INT_RT_VALUES;
			ucbuff[1] = rtlabel_str[RPM].row;
			ucbuff[2] = rtlabel_str[RPM].data_col;
//			ucbuff[3] = (UCHAR)(rpm >> 8);
//			ucbuff[4] = (UCHAR)rpm;
			ucbuff[4] = buff[0];
			ucbuff[3] = buff[1];
			avr_buffer[0] = pack64(ucbuff);
			xQueueSend(SendAVRHandle,avr_buffer,0);
			vTaskDelay(10);

			ucbuff[1] = rtlabel_str[MPH].row;
			ucbuff[2] = rtlabel_str[MPH].data_col;
//			ucbuff[3] = (UCHAR)(mph >> 8);
//			ucbuff[4] = (UCHAR)mph;
			ucbuff[4] = buff[2];
			ucbuff[3] = buff[3];
			avr_buffer[0] = pack64(ucbuff);
			xQueueSend(SendAVRHandle,avr_buffer,0);

			if((rpm+= 12) > 5000)
				rpm = 500;
			if(++mph > 100)
				mph = 1;

			vTaskDelay(10);

			if(engine_on != 0)
			{
				ucbuff[0] = SEND_RT_VALUES;
/*
				ucbuff[1] = (UCHAR)(rpm >> 8);
				ucbuff[2] = (UCHAR)rpm;
				ucbuff[3] = (UCHAR)(mph >> 8);
				ucbuff[4] = (UCHAR)mph;
*/
				ucbuff[2] = buff[0];
				ucbuff[1] = buff[1];
				ucbuff[4] = buff[2];
				ucbuff[3] = buff[3];

				avr_buffer[0] = pack64(ucbuff);
				xQueueSend(Send7200Handle, avr_buffer, 0);
			}
		}else
		{
			buff[frame_ptr] = xbyte;
			frame_ptr++;
		}
		HAL_GPIO_WritePin(GPIOA, PP_ACK_Pin, GPIO_PIN_SET);
		vTaskDelay(5);
		HAL_GPIO_WritePin(GPIOA, PP_ACK_Pin, GPIO_PIN_RESET);
		xbyte = 0;
	}
  /* USER CODE END StartRecvFPGA */
}

void StartKeyStateTask(void const * argument)
{
  /* USER CODE BEGIN StartKeyStateTask */
 	static UCHAR key;
	unsigned long sendval;

	e_isrState = STATE_WAIT_FOR_PRESS;

	vTaskDelay(1000);
  /* Infinite loop */
	for(;;)
	{
		switch (e_isrState)
		{
			case STATE_WAIT_FOR_PRESS:
				key = do_keyscan();
				if(key != 0)
				{
					e_isrState = STATE_WAIT_FOR_RELEASE;
				}
				break;

			case STATE_WAIT_FOR_RELEASE:
				//keypad released
				if(key_is_released() == 1)
				{
					e_isrState = STATE_WAIT_FOR_PRESS;
					drive_row_high();
					sendval = (unsigned long)key;
					xQueueSend(keypressedHandle, &sendval, 0);
					key = 0;
				}
				break;
			default:
				e_isrState = STATE_WAIT_FOR_PRESS;
				break;
		}
		vTaskDelay(1);
	}
  /* USER CODE END StartKeyStateTask */
}

/* Callback01 function */
void Callback01(void const * argument)
{
  /* USER CODE BEGIN Callback01 */
#if 0

	UINT raw_data, temp_raw;
	uint64_t avr_buffer[5];
	UCHAR ucbuff[8];

//	initDS1620();

//	row = col = 0;
	raw_data = 43;		// test using 70F
//	rpm = 500;
//	mph = 1;
	memset(ucbuff, 0, 8);

	raw_data = 1;
	temp_raw = 42;

		ucbuff[0] = DISPLAY_TEMP;
		ucbuff[1] = rtlabel_str[ENG_TEMP].row;
		ucbuff[2] = rtlabel_str[ENG_TEMP].data_col;
		ucbuff[4] = (UCHAR)temp_raw;
		temp_raw >>= 8;
		ucbuff[3] = (UCHAR)temp_raw;	// send high byte 1st
		avr_buffer[0] = pack64(ucbuff);
		xQueueSend(SendAVRHandle,avr_buffer,0);
		vTaskDelay(10);

		ucbuff[0] = ENGINE_TEMP;
		ucbuff[1] = ucbuff[3];			// send high byte 1st
		ucbuff[2] = ucbuff[4];
		avr_buffer[0] = pack64(ucbuff);
		xQueueSend(Send7200Handle, avr_buffer, 0);
		vTaskDelay(1000);

		writeByteTo1620(DS1620_CMD_STARTCONV);
		vTaskDelay(30);
		raw_data = readTempFrom1620();
		temp_raw = raw_data;
		vTaskDelay(30);
		writeByteTo1620(DS1620_CMD_STOPCONV);
		vTaskDelay(100);

		raw_data++;				// used for testing
		if(raw_data > 230)
			raw_data = 10;
		temp_raw = raw_data;
#endif

	if(menu_ptr == 0)
	{
		HAL_GPIO_WritePin(LD3_GPIO_Port, LD3_Pin, GPIO_PIN_RESET);
		HAL_GPIO_WritePin(LD4_GPIO_Port, LD4_Pin, GPIO_PIN_SET);
		menu_ptr = 1;

		HAL_GPIO_WritePin(GPIOB, DS1620_PIN_CLK, GPIO_PIN_RESET);
		HAL_GPIO_WritePin(GPIOB, DS1620_PIN_DQ, GPIO_PIN_SET);
		HAL_GPIO_WritePin(GPIOB, DS1620_PIN_RST, GPIO_PIN_RESET);

		HAL_GPIO_WritePin(GPIOC, Test_Pin, GPIO_PIN_RESET);
	}else
	{
		HAL_GPIO_WritePin(LD4_GPIO_Port, LD4_Pin, GPIO_PIN_RESET);
		HAL_GPIO_WritePin(LD3_GPIO_Port, LD3_Pin, GPIO_PIN_SET);

		HAL_GPIO_WritePin(GPIOB, DS1620_PIN_CLK, GPIO_PIN_SET);
		HAL_GPIO_WritePin(GPIOB, DS1620_PIN_DQ, GPIO_PIN_RESET);
		HAL_GPIO_WritePin(GPIOB, DS1620_PIN_RST, GPIO_PIN_SET);

		HAL_GPIO_WritePin(GPIOC, Test_Pin, GPIO_PIN_SET);
		menu_ptr = 0;
	}

  /* USER CODE END Callback01 */
}

/* USER CODE BEGIN Application */
void HAL_UART_TxCpltCallback(UART_HandleTypeDef *huart)
{
	if(huart->Instance == USART1)
	{
/*
		if(menu_ptr == 0)
		{
			HAL_GPIO_WritePin(LD3_GPIO_Port, LD3_Pin, GPIO_PIN_RESET);
			HAL_GPIO_WritePin(LD4_GPIO_Port, LD4_Pin, GPIO_PIN_SET);
			menu_ptr = 1;
		}else
		{
			HAL_GPIO_WritePin(LD4_GPIO_Port, LD4_Pin, GPIO_PIN_RESET);
			HAL_GPIO_WritePin(LD3_GPIO_Port, LD3_Pin, GPIO_PIN_SET);
			menu_ptr = 0;
		}
*/
	}
}

void HAL_UART_RxCpltCallback(UART_HandleTypeDef *huart)
{
	UCHAR cmd;

	if(huart->Instance == USART1)
	{
/*
		if(menu_ptr == 0)
		{
			HAL_GPIO_WritePin(LD3_GPIO_Port, LD3_Pin, GPIO_PIN_RESET);
			HAL_GPIO_WritePin(LD4_GPIO_Port, LD4_Pin, GPIO_PIN_SET);
			menu_ptr = 1;
		}else
		{
			HAL_GPIO_WritePin(LD4_GPIO_Port, LD4_Pin, GPIO_PIN_RESET);
			HAL_GPIO_WritePin(LD3_GPIO_Port, LD3_Pin, GPIO_PIN_SET);
			menu_ptr = 0;
		}
*/
	}
}
uint64_t pack64(UCHAR *buff)
{
	uint64_t var64;

	var64 = (uint64_t)buff[7];
	var64 <<= 8;
	var64 |= (uint64_t)buff[6];
	var64 <<= 8;
	var64 |= (uint64_t)buff[5];
	var64 <<= 8;
	var64 |= (uint64_t)buff[4];
	var64 <<= 8;
	var64 |= (uint64_t)buff[3];
	var64 <<= 8;
	var64 |= (uint64_t)buff[2];
	var64 <<= 8;
	var64 |= (uint64_t)buff[1];
	var64 <<= 8;
	var64 |= (uint64_t)buff[0];
	return var64;
}
uint32_t pack32(UCHAR *buff)
{
	uint32_t var32;
	UCHAR temp;

	var32 = 0L;
	var32 |= (uint32_t)buff[3];
	var32 <<= 8;
	var32 |= (uint32_t)buff[2];
	var32 <<= 8;
	var32 |= (uint32_t)buff[1];
	var32 <<= 8;
	var32 |= (uint32_t)buff[0];

	return var32;
}

/* USER CODE END Application */

/************************ (C) COPYRIGHT STMicroelectronics *****END OF FILE****/
